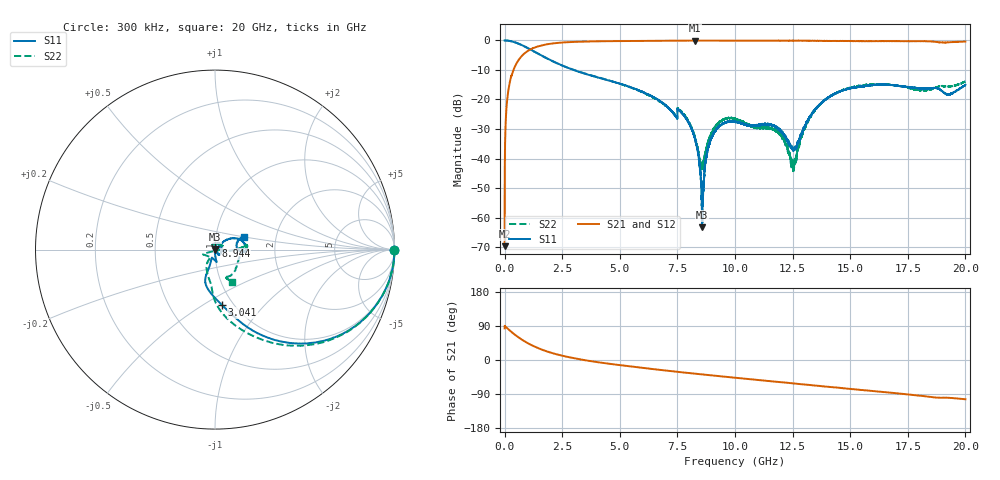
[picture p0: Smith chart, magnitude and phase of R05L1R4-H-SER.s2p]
!{R05L1R4}
!Johanson Technology Inc.
!www.johansontechnology.com
!Test Board Conditions:
!Substrate Type  RO4350B
!Substrate Thickness  10 mil
!Substrate Dk  3.66
!TL Type: GCPW
!TL Trace Width  22 mil
!TL Gap  25 mil
!Electrode orientation  Horizontal
!DUT TOPOLOGY	SERIES
!Mounting Pad LxW  11x14.5 mil
! Created Wed Nov 25 17:33:21 2020
! 2 Port Network Data from SP1.SP block
! freq  magS11  angS11  magS21  angS21  magS12  angS12  magS22  angS22
# khz S ma R 50
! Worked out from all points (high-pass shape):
!   20001 points, 300 kHz to 20 GHz, reference 50 ohm
!   highest |S21| = -0.04 dB at 8.278 GHz (marker M1); lowest = -69.7 dB at 300 kHz (marker M2)
!   |S21| within 3 dB of the highest: 1.12 GHz to end of sweep
!   lowest |S11| = -63.4 dB at 8.572 GHz (marker M3), VSWR 1.00, Z = 49.9 - j0.0332 ohm
!   |S11| at or under -10 dB: 2.989646 GHz to 2.990532 GHz (886.6 kHz wide, 0.0297 % of centre); 2.992 GHz to end of sweep
!   |S22| runs from -44.3 to 0.0 dB; largest |S21 - S12| = 0.015
!   S11 on the Smith chart (normalised r, x): 300 kHz: open; 3.041 GHz: 0.89, -0.61; 8.944 GHz: 1.00, +0.04; 20 GHz: 1.37, +0.20
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300  0.9988 -0.2  0.0003273 83.4  0.0003042 89.0  0.9992 -0.2
101300  0.9955 -5.5  0.08923 84.3  0.08976 84.3  0.9957 -5.5
130300  0.9929 -7.0  0.1145 82.7  0.115 82.7  0.9929 -7.0
470300  0.9238 -23.7  0.3764 65.7  0.3777 65.7  0.922 -24.0
1646300  0.5459 -61.2  0.8319 26.7  0.833 26.7  0.5432 -64.6
3041300  0.311 -82.7  0.9459 4.4  0.9448 4.4  0.3131 -87.7
3334300  0.2847 -87.0  0.954 1.2  0.9536 1.1  0.2876 -90.1
6667300  0.09813 -108.3  0.9894 -25.5  0.9908 -25.5  0.09663 -118.4
7642300  0.0622 -83.0  0.9928 -32.1  0.9921 -32.1  0.06444 -159.0
8278300  0.02075 -89.7  0.9956 -36.1  0.9946 -36.1  0.02156 -148.3
8572300  0.0006797 -150.7  0.9948 -38.0  0.9938 -38.0  0.006975 -68.0
8777300  0.01168 89.9  0.9934 -39.3  0.9935 -39.2  0.01604 -13.0
8944300  0.02066 83.0  0.9939 -40.3  0.9935 -40.3  0.02561 -0.4
9394300  0.03694 72.1  0.9919 -43.1  0.993 -43.0  0.04331 11.0
1.00003e7  0.04167 50.3  0.992 -46.8  0.9907 -46.7  0.04739 25.4
1.17963e7  0.0339 -53.6  0.9909 -57.4  0.9927 -57.5  0.02829 120.3
1.25113e7  0.01436 -20.4  0.9912 -61.6  0.9885 -61.6  0.007678 74.6
1.33343e7  0.05626 43.9  0.9878 -66.4  0.9908 -66.6  0.05647 -8.0
1.46353e7  0.1399 25.6  0.9757 -74.1  0.9795 -74.2  0.1413 4.0
1.66673e7  0.177 0.4  0.9758 -85.9  0.9677 -85.5  0.1787 5.3
1.92523e7  0.1229 7.2  0.9275 -99.8  0.9345 -99.7  0.1667 -67.3
2e7  0.1771 23.5  0.957 -103.7  0.9509 -103.6  0.2026 -62.6
